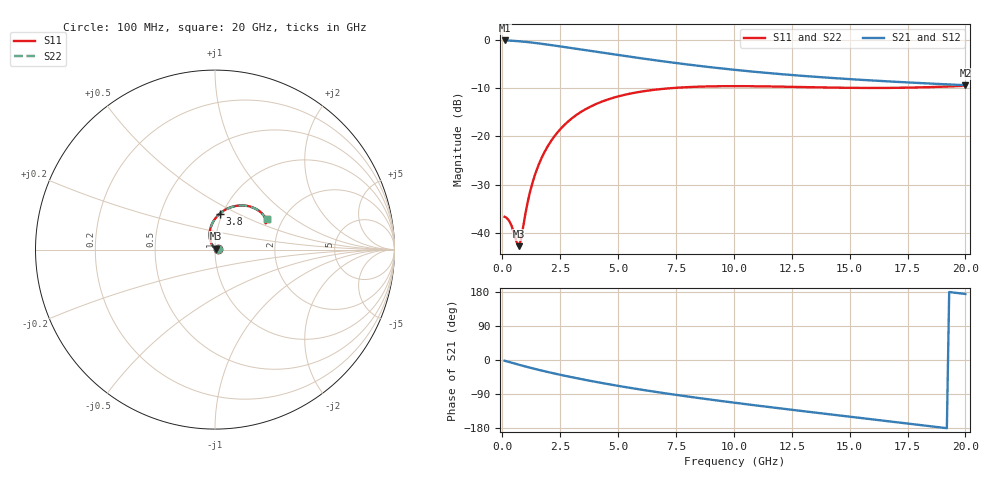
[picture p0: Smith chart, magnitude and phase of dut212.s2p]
! Touchstone file exported from HFSS 2024.1.0
!  File:  C:/UserFiles/LocalFiles/RDL_TSV_Batchsim/temp_RDL_TSV_212_1779446650.aedt
!  Generated:  06:59:08 PM May 22, 2026
!  Design:  RDL_TSV
!  Project:  temp_RDL_TSV_212_1779446650
!  Setup:  Setup1
!  Solution:  Sweep
! Variables:
!  dtsv = 11.56um
!  hbump = 3um
!  htsv = 83.95um
!  ldown = 411.36um
!  lrdl = 286.62um
!  p = 40
!  p1 = 55.07um
!  rhole = 10um
!  subl = 2380.56um
!  t = 450um
!  tdown = 3.78um
!  trdl = 3.55um
!  viad = 10um
!  wdown = 15.72um
!  wrdl = 16.2um
!  xbump = 18um
# GHz S MA R 50.000000
! Terminal data exported
! Port[1] = TM1_1_T1
! Port[2] = TM1_4_T1
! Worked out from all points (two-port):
!   200 points, 100 MHz to 20 GHz, reference 50 ohm
!   highest |S21| = -0.13 dB at 100 MHz (marker M1); lowest = -9.4 dB at 20 GHz (marker M2)
!   |S21| within 3 dB of the highest: start of sweep to 4.992 GHz
!   lowest |S11| = -42.7 dB at 700 MHz (marker M3), VSWR 1.01, Z = 50.4 + j0.614 ohm
!   |S11| at or under -10 dB: start of sweep to 7.327 GHz
!   |S22| runs from -42.7 to -9.5 dB; largest |S21 - S12| = 2.1e-14
!   S11 on the Smith chart (normalised r, x): 100 MHz: 1.03, +0.00; 3.8 GHz: 0.97, +0.41; 20 GHz: 1.66, +0.63
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0.1  0.01471 2.4  0.9847 -1.8  0.9847 -1.8  0.01471 2.4
! Gamma 0 0 0 0
! Port Impedance 50 0 50 0
0.3  0.01331 7.1  0.9812 -5.3  0.9812 -5.3  0.01331 7.1
0.4  0.01188 11.0  0.9785 -7.1  0.9785 -7.1  0.01189 10.9
0.6  0.008252 32.0  0.9717 -10.5  0.9717 -10.5  0.008258 31.9
0.7  0.007301 56.5  0.9676 -12.2  0.9676 -12.2  0.007304 56.4
0.8  0.008383 84.8  0.9631 -13.9  0.9631 -13.9  0.008377 84.7
1  0.01589 113.2  0.9529 -17.1  0.9529 -17.1  0.01587 113.1
1.2  0.02675 119.7  0.9415 -20.3  0.9415 -20.3  0.02671 119.7
1.4  0.03927 120.0  0.9291 -23.4  0.9291 -23.4  0.03922 119.9
1.7  0.0599 116.5  0.9095 -27.9  0.9095 -27.9  0.05982 116.5
2.1  0.08904 109.9  0.8822 -33.6  0.8822 -33.6  0.08894 109.9
2.5  0.1184 102.8  0.8547 -39.0  0.8547 -39.0  0.1182 102.8
3  0.1534 94.4  0.8208 -45.4  0.8208 -45.4  0.1532 94.4
3.5  0.1854 86.6  0.7879 -51.5  0.7879 -51.5  0.1852 86.6
3.8  0.2029 82.3  0.7687 -55.0  0.7687 -55.0  0.2027 82.3
5.1  0.263 66.4  0.691 -69.3  0.691 -69.3  0.2626 66.4
6.8  0.3081 51.3  0.6051 -85.8  0.6051 -85.8  0.3076 51.3
8.4  0.3267 41.4  0.5406 -99.7  0.5406 -99.7  0.3261 41.4
10.1  0.3314 34.3  0.4871 -113.3  0.4871 -113.3  0.3307 34.3
13.4  0.3226 27.9  0.4158 -138.0  0.4158 -138.0  0.3219 27.9
16.7  0.3178 28.1  0.3707 -161.9  0.3707 -161.9  0.3171 28.1
20  0.3341 30.4  0.3388 174.2  0.3388 174.2  0.3335 30.6
